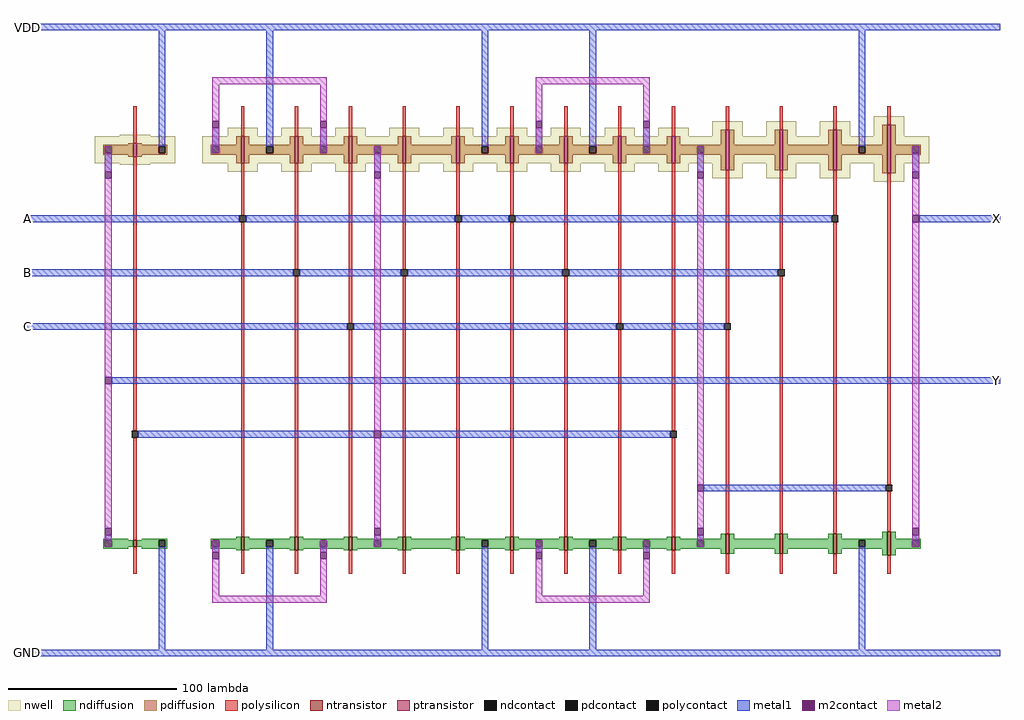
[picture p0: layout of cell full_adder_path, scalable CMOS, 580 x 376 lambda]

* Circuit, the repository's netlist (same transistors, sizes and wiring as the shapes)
* Schematic of full_adder_path (mirror full adder, sized for speed), 28 transistors.
* Written from the layout's extracted netlist, so the transistors are in the layout's
* order with its sizes; the internal nets have plain names, and, as in any schematic,
* every p-transistor's body is tied to VDD and every n-transistor's to GND.
.subckt full_adder_path VDD GND A B C X Y
M1 n1 C GND GND nfet w=8u l=2u
M2 n2 B n3 VDD pfet w=24u l=2u
M3 n1 A GND GND nfet w=8u l=2u
M4 GND A n4 GND nfet w=8u l=2u
M5 VDD n5 Y VDD pfet w=8u l=2u
M6 n5 C n6 GND nfet w=8u l=2u
M7 n7 C n8 GND nfet w=12u l=2u
M8 n9 B n7 GND nfet w=12u l=2u
M9 n5 C n10 VDD pfet w=16u l=2u
M10 n11 A VDD VDD pfet w=16u l=2u
M11 n8 n5 n11 VDD pfet w=16u l=2u
M12 GND A n6 GND nfet w=8u l=2u
M13 n10 B VDD VDD pfet w=16u l=2u
M14 n11 C VDD VDD pfet w=16u l=2u
M15 n8 n5 n1 GND nfet w=8u l=2u
M16 VDD A n12 VDD pfet w=16u l=2u
M17 n3 C n8 VDD pfet w=24u l=2u
M18 X n8 VDD VDD pfet w=29u l=2u
M19 GND B n1 GND nfet w=8u l=2u
M20 GND A n9 GND nfet w=12u l=2u
M21 n4 B n5 GND nfet w=8u l=2u
M22 n6 B GND GND nfet w=8u l=2u
M23 X n8 GND GND nfet w=14u l=2u
M24 VDD A n10 VDD pfet w=16u l=2u
M25 VDD B n11 VDD pfet w=16u l=2u
M26 GND n5 Y GND nfet w=4u l=2u
M27 n12 B n5 VDD pfet w=16u l=2u
M28 VDD A n2 VDD pfet w=24u l=2u
.ends

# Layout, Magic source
magic
tech scmos
<< nwell >>
rect 79 331 97 332
rect 143 331 161 336
rect 175 331 193 336
rect 207 331 225 336
rect 239 331 257 336
rect 271 331 289 336
rect 303 331 321 336
rect 335 331 353 336
rect 367 331 385 336
rect 399 331 417 336
rect 431 331 449 340
rect 463 331 481 340
rect 495 331 513 340
rect 527 331 545 343
rect 64 315 112 331
rect 128 315 560 331
rect 79 314 97 315
rect 143 310 161 315
rect 175 310 193 315
rect 207 310 225 315
rect 239 310 257 315
rect 271 310 289 315
rect 303 310 321 315
rect 335 310 353 315
rect 367 310 385 315
rect 399 310 417 315
rect 431 306 449 315
rect 463 306 481 315
rect 495 306 513 315
rect 527 304 545 315
<< polysilicon >>
rect 87 327 89 349
rect 151 331 153 349
rect 183 331 185 349
rect 215 331 217 349
rect 247 331 249 349
rect 279 331 281 349
rect 311 331 313 349
rect 343 331 345 349
rect 375 331 377 349
rect 407 331 409 349
rect 439 335 441 349
rect 471 335 473 349
rect 503 335 505 349
rect 535 338 537 349
rect 87 156 89 319
rect 151 284 153 315
rect 87 91 89 152
rect 151 93 153 280
rect 183 252 185 315
rect 183 93 185 248
rect 215 220 217 315
rect 247 252 249 315
rect 279 284 281 315
rect 311 284 313 315
rect 215 93 217 216
rect 247 93 249 248
rect 279 93 281 280
rect 311 93 313 280
rect 343 252 345 315
rect 343 93 345 248
rect 375 220 377 315
rect 375 93 377 216
rect 407 156 409 315
rect 439 220 441 311
rect 471 252 473 311
rect 503 284 505 311
rect 407 93 409 152
rect 439 95 441 216
rect 471 95 473 248
rect 503 95 505 280
rect 535 124 537 309
rect 535 96 537 120
rect 87 71 89 87
rect 151 71 153 85
rect 183 71 185 85
rect 215 71 217 85
rect 247 71 249 85
rect 279 71 281 85
rect 311 71 313 85
rect 343 71 345 85
rect 375 71 377 85
rect 407 71 409 85
rect 439 71 441 83
rect 471 71 473 83
rect 503 71 505 83
rect 535 71 537 82
<< ndiffusion >>
rect 69 91 84 92
rect 148 92 151 93
rect 92 91 107 92
rect 69 87 70 91
rect 74 87 87 91
rect 89 87 102 91
rect 106 87 107 91
rect 69 86 84 87
rect 92 86 107 87
rect 133 91 151 92
rect 133 87 134 91
rect 138 87 151 91
rect 133 86 151 87
rect 148 85 151 86
rect 153 92 156 93
rect 180 92 183 93
rect 153 91 183 92
rect 153 87 166 91
rect 170 87 183 91
rect 153 86 183 87
rect 153 85 156 86
rect 180 85 183 86
rect 185 92 188 93
rect 212 92 215 93
rect 185 91 215 92
rect 185 87 198 91
rect 202 87 215 91
rect 185 86 215 87
rect 185 85 188 86
rect 212 85 215 86
rect 217 92 220 93
rect 244 92 247 93
rect 217 91 247 92
rect 217 87 230 91
rect 234 87 247 91
rect 217 86 247 87
rect 217 85 220 86
rect 244 85 247 86
rect 249 92 252 93
rect 276 92 279 93
rect 249 86 279 92
rect 249 85 252 86
rect 276 85 279 86
rect 281 92 284 93
rect 308 92 311 93
rect 281 91 311 92
rect 281 87 294 91
rect 298 87 311 91
rect 281 86 311 87
rect 281 85 284 86
rect 308 85 311 86
rect 313 92 316 93
rect 340 92 343 93
rect 313 91 343 92
rect 313 87 326 91
rect 330 87 343 91
rect 313 86 343 87
rect 313 85 316 86
rect 340 85 343 86
rect 345 92 348 93
rect 372 92 375 93
rect 345 91 375 92
rect 345 87 358 91
rect 362 87 375 91
rect 345 86 375 87
rect 345 85 348 86
rect 372 85 375 86
rect 377 92 380 93
rect 404 92 407 93
rect 377 91 407 92
rect 377 87 390 91
rect 394 87 407 91
rect 377 86 407 87
rect 377 85 380 86
rect 404 85 407 86
rect 409 92 412 93
rect 436 92 439 95
rect 409 91 439 92
rect 409 87 422 91
rect 426 87 439 91
rect 409 86 439 87
rect 409 85 412 86
rect 436 83 439 86
rect 441 92 444 95
rect 468 92 471 95
rect 441 86 471 92
rect 441 83 444 86
rect 468 83 471 86
rect 473 92 476 95
rect 500 92 503 95
rect 473 86 503 92
rect 473 83 476 86
rect 500 83 503 86
rect 505 92 508 95
rect 532 92 535 96
rect 505 91 535 92
rect 505 87 518 91
rect 522 87 535 91
rect 505 86 535 87
rect 505 83 508 86
rect 532 82 535 86
rect 537 92 540 96
rect 537 91 555 92
rect 537 87 550 91
rect 554 87 555 91
rect 537 86 555 87
rect 537 82 540 86
<< pdiffusion >>
rect 84 326 87 327
rect 69 325 87 326
rect 69 321 70 325
rect 74 321 87 325
rect 69 320 87 321
rect 84 319 87 320
rect 89 326 92 327
rect 148 326 151 331
rect 89 325 107 326
rect 89 321 102 325
rect 106 321 107 325
rect 89 320 107 321
rect 133 325 151 326
rect 133 321 134 325
rect 138 321 151 325
rect 133 320 151 321
rect 89 319 92 320
rect 148 315 151 320
rect 153 326 156 331
rect 180 326 183 331
rect 153 325 183 326
rect 153 321 166 325
rect 170 321 183 325
rect 153 320 183 321
rect 153 315 156 320
rect 180 315 183 320
rect 185 326 188 331
rect 212 326 215 331
rect 185 325 215 326
rect 185 321 198 325
rect 202 321 215 325
rect 185 320 215 321
rect 185 315 188 320
rect 212 315 215 320
rect 217 326 220 331
rect 244 326 247 331
rect 217 325 247 326
rect 217 321 230 325
rect 234 321 247 325
rect 217 320 247 321
rect 217 315 220 320
rect 244 315 247 320
rect 249 326 252 331
rect 276 326 279 331
rect 249 320 279 326
rect 249 315 252 320
rect 276 315 279 320
rect 281 326 284 331
rect 308 326 311 331
rect 281 325 311 326
rect 281 321 294 325
rect 298 321 311 325
rect 281 320 311 321
rect 281 315 284 320
rect 308 315 311 320
rect 313 326 316 331
rect 340 326 343 331
rect 313 325 343 326
rect 313 321 326 325
rect 330 321 343 325
rect 313 320 343 321
rect 313 315 316 320
rect 340 315 343 320
rect 345 326 348 331
rect 372 326 375 331
rect 345 325 375 326
rect 345 321 358 325
rect 362 321 375 325
rect 345 320 375 321
rect 345 315 348 320
rect 372 315 375 320
rect 377 326 380 331
rect 404 326 407 331
rect 377 325 407 326
rect 377 321 390 325
rect 394 321 407 325
rect 377 320 407 321
rect 377 315 380 320
rect 404 315 407 320
rect 409 326 412 331
rect 436 326 439 335
rect 409 325 439 326
rect 409 321 422 325
rect 426 321 439 325
rect 409 320 439 321
rect 409 315 412 320
rect 436 311 439 320
rect 441 326 444 335
rect 468 326 471 335
rect 441 320 471 326
rect 441 311 444 320
rect 468 311 471 320
rect 473 326 476 335
rect 500 326 503 335
rect 473 320 503 326
rect 473 311 476 320
rect 500 311 503 320
rect 505 326 508 335
rect 532 326 535 338
rect 505 325 535 326
rect 505 321 518 325
rect 522 321 535 325
rect 505 320 535 321
rect 505 311 508 320
rect 532 309 535 320
rect 537 326 540 338
rect 537 325 555 326
rect 537 321 550 325
rect 554 321 555 325
rect 537 320 555 321
rect 537 309 540 320
<< metal1 >>
rect 22 394 602 398
rect 102 325 106 394
rect 134 325 138 336
rect 166 325 170 394
rect 198 325 202 336
rect 294 325 298 394
rect 326 325 330 336
rect 358 325 362 394
rect 390 325 394 336
rect 518 325 522 394
rect 70 310 74 321
rect 230 310 234 321
rect 422 310 426 321
rect 550 310 554 321
rect 22 280 150 284
rect 154 280 278 284
rect 282 280 310 284
rect 314 280 502 284
rect 554 280 602 284
rect 22 248 182 252
rect 186 248 246 252
rect 250 248 342 252
rect 346 248 470 252
rect 22 216 214 220
rect 218 216 374 220
rect 378 216 438 220
rect 74 184 602 188
rect 90 152 230 156
rect 234 152 406 156
rect 426 120 534 124
rect 70 91 74 94
rect 230 91 234 94
rect 422 91 426 94
rect 550 91 554 94
rect 102 26 106 87
rect 134 84 138 87
rect 166 26 170 87
rect 198 84 202 87
rect 294 26 298 87
rect 326 84 330 87
rect 358 26 362 87
rect 390 84 394 87
rect 518 26 522 87
rect 22 22 602 26
<< metal2 >>
rect 134 362 202 366
rect 134 340 138 362
rect 70 310 74 325
rect 134 321 138 336
rect 198 340 202 362
rect 198 321 202 336
rect 326 362 394 366
rect 326 340 330 362
rect 70 188 74 306
rect 70 98 74 184
rect 70 87 74 94
rect 230 310 234 325
rect 326 321 330 336
rect 390 340 394 362
rect 390 321 394 336
rect 230 156 234 306
rect 230 98 234 152
rect 134 84 138 91
rect 134 58 138 80
rect 198 84 202 91
rect 230 87 234 94
rect 422 310 426 325
rect 422 124 426 306
rect 422 98 426 120
rect 198 58 202 80
rect 134 54 202 58
rect 326 84 330 91
rect 326 58 330 80
rect 390 84 394 91
rect 422 87 426 94
rect 550 310 554 325
rect 550 284 554 306
rect 550 98 554 280
rect 550 87 554 94
rect 390 58 394 80
rect 326 54 394 58
<< ntransistor >>
rect 87 87 89 91
rect 151 85 153 93
rect 183 85 185 93
rect 215 85 217 93
rect 247 85 249 93
rect 279 85 281 93
rect 311 85 313 93
rect 343 85 345 93
rect 375 85 377 93
rect 407 85 409 93
rect 439 83 441 95
rect 471 83 473 95
rect 503 83 505 95
rect 535 82 537 96
<< ptransistor >>
rect 87 319 89 327
rect 151 315 153 331
rect 183 315 185 331
rect 215 315 217 331
rect 247 315 249 331
rect 279 315 281 331
rect 311 315 313 331
rect 343 315 345 331
rect 375 315 377 331
rect 407 315 409 331
rect 439 311 441 335
rect 471 311 473 335
rect 503 311 505 335
rect 535 309 537 338
<< polycontact >>
rect 150 280 154 284
rect 86 152 90 156
rect 182 248 186 252
rect 278 280 282 284
rect 310 280 314 284
rect 246 248 250 252
rect 214 216 218 220
rect 342 248 346 252
rect 374 216 378 220
rect 502 280 506 284
rect 470 248 474 252
rect 438 216 442 220
rect 406 152 410 156
rect 534 120 538 124
<< ndcontact >>
rect 70 87 74 91
rect 102 87 106 91
rect 134 87 138 91
rect 166 87 170 91
rect 198 87 202 91
rect 230 87 234 91
rect 294 87 298 91
rect 326 87 330 91
rect 358 87 362 91
rect 390 87 394 91
rect 422 87 426 91
rect 518 87 522 91
rect 550 87 554 91
<< pdcontact >>
rect 70 321 74 325
rect 102 321 106 325
rect 134 321 138 325
rect 166 321 170 325
rect 198 321 202 325
rect 230 321 234 325
rect 294 321 298 325
rect 326 321 330 325
rect 358 321 362 325
rect 390 321 394 325
rect 422 321 426 325
rect 518 321 522 325
rect 550 321 554 325
<< m2contact >>
rect 134 336 138 340
rect 198 336 202 340
rect 326 336 330 340
rect 390 336 394 340
rect 70 306 74 310
rect 230 306 234 310
rect 422 306 426 310
rect 550 306 554 310
rect 550 280 554 284
rect 70 184 74 188
rect 230 152 234 156
rect 422 120 426 124
rect 70 94 74 98
rect 230 94 234 98
rect 422 94 426 98
rect 550 94 554 98
rect 134 80 138 84
rect 198 80 202 84
rect 326 80 330 84
rect 390 80 394 84
<< labels >>
rlabel metal1 22 394 26 398 0 VDD
port 1 nsew
rlabel metal1 22 22 26 26 0 GND
port 2 nsew
rlabel metal1 22 280 26 284 0 A
port 3 nsew
rlabel metal1 22 248 26 252 0 B
port 4 nsew
rlabel metal1 22 216 26 220 0 C
port 5 nsew
rlabel metal1 598 280 602 284 0 X
port 6 nsew
rlabel metal1 598 184 602 188 0 Y
port 7 nsew
<< end >>
